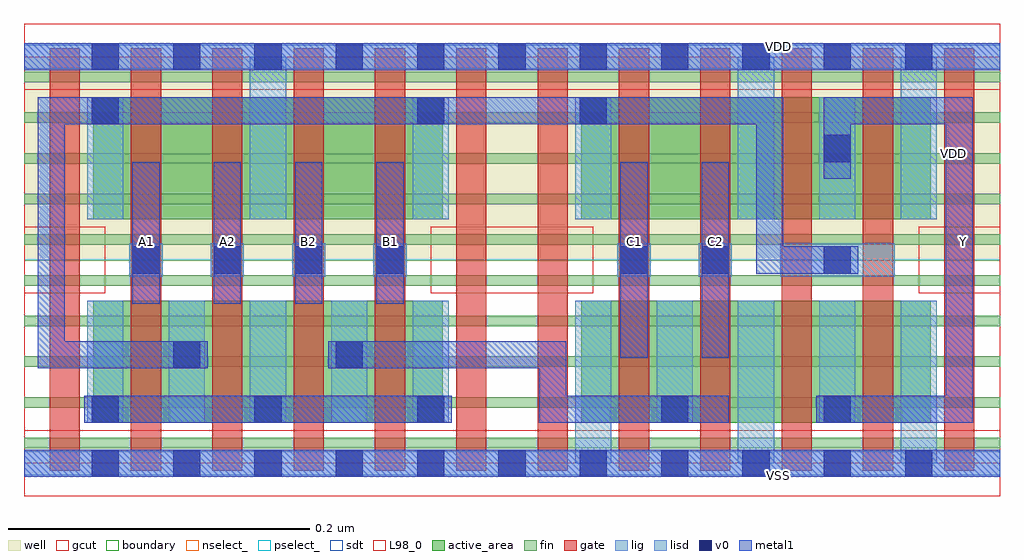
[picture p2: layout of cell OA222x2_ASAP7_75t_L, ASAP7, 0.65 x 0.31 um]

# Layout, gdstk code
import gdstk
lib = gdstk.Library(unit=1e-6, precision=2.5e-10)
def R(c, l, rs):  # rectangles x0, y0, x1, y1
    for r in rs: c.add(gdstk.rectangle(r[:2], r[2:], *l))
def A(c, l, x, y, w, h, nx, ny, dx, dy):  # array of equal rectangles
    R(c, l, [(x+i*dx, y+j*dy, x+i*dx+w, y+j*dy+h) for i in range(nx) for j in range(ny)])
def P(c, l, *ps):  # polygons
    for p in ps: c.add(gdstk.Polygon(p, *l))
well = (1, 0)
fin = (2, 0)
gate = (7, 0)
gcut = (10, 0)
active_area = (11, 0)
nselect_ = (12, 0)
pselect_ = (13, 0)
lig = (16, 0)
lisd = (17, 0)
v0 = (18, 0)
metal1 = (19, 0)
sdt = (88, 0)
L98_0 = (98, 0)
boundary = (100, 0)

oa222x2_asap7_75t_l = lib.new_cell('OA222x2_ASAP7_75t_L')
R(oa222x2_asap7_75t_l, well, [(0,0.135,0.648,0.27)])
A(oa222x2_asap7_75t_l, fin, 0, 0.01, 0.648, 0.007, 1, 10, 0, 0.027)
A(oa222x2_asap7_75t_l, gate, 0.017, -0.005, 0.02, 0.2805, 12, 1, 0.054, 0)
R(oa222x2_asap7_75t_l, gcut, [(0,-0.022,0.648,0.022), (0,0.113,0.054,0.157), (0.27,0.113,0.378,0.157), (0.594,0.113,0.648,0.157), (0,0.248,0.648,0.292)])
R(oa222x2_asap7_75t_l, active_area, [(0.046,0.027,0.278,0.108), (0.37,0.027,0.602,0.108), (0.046,0.162,0.278,0.243), (0.37,0.162,0.602,0.243)])
R(oa222x2_asap7_75t_l, nselect_, [(0,0,0.648,0.135)])
R(oa222x2_asap7_75t_l, pselect_, [(0,0.135,0.648,0.27)])
A(oa222x2_asap7_75t_l, lig, 0.07, 0.124, 0.022, 0.022, 4, 1, 0.054, 0)
R(oa222x2_asap7_75t_l, lig, [(0,-0.008,0.648,0.008), (0.394,0.124,0.416,0.146), (0.448,0.124,0.47,0.146), (0.502,0.124,0.578,0.146), (0,0.262,0.648,0.278)])
A(oa222x2_asap7_75t_l, lisd, 0.366, 0, 0.024, 0.108, 3, 1, 0.108, 0)
A(oa222x2_asap7_75t_l, lisd, 0.042, 0.027, 0.024, 0.081, 5, 1, 0.054, 0)
R(oa222x2_asap7_75t_l, lisd, [(0.42,0.027,0.444,0.108), (0.528,0.027,0.552,0.108), (0.042,0.162,0.066,0.243), (0.15,0.162,0.174,0.27), (0.258,0.162,0.282,0.243), (0.366,0.162,0.39,0.243), (0.474,0.162,0.498,0.27), (0.528,0.162,0.552,0.243), (0.582,0.162,0.606,0.27)])
A(oa222x2_asap7_75t_l, v0, 0.045, -0.009, 0.018, 0.018, 11, 2, 0.054, 0.27)
A(oa222x2_asap7_75t_l, v0, 0.045, 0.027, 0.018, 0.018, 3, 1, 0.108, 0)
A(oa222x2_asap7_75t_l, v0, 0.072, 0.126, 0.018, 0.018, 4, 1, 0.054, 0)
R(oa222x2_asap7_75t_l, v0, [(0.423,0.027,0.441,0.045), (0.531,0.027,0.549,0.045), (0.099,0.063,0.117,0.081), (0.207,0.063,0.225,0.081), (0.396,0.126,0.414,0.144), (0.45,0.126,0.468,0.144), (0.531,0.126,0.549,0.144), (0.531,0.2,0.549,0.218), (0.045,0.225,0.063,0.243), (0.261,0.225,0.279,0.243), (0.369,0.225,0.387,0.243)])
A(oa222x2_asap7_75t_l, metal1, 0.072, 0.106, 0.018, 0.094, 4, 1, 0.054, 0)
R(oa222x2_asap7_75t_l, metal1, [(0,-0.009,0.648,0.009), (0.04,0.027,0.284,0.045), (0.396,0.07,0.414,0.2), (0.45,0.07,0.468,0.2), (0,0.261,0.648,0.279)])
P(oa222x2_asap7_75t_l, metal1, [(0.468,0.045),(0.36,0.045),(0.36,0.081),(0.202,0.081),(0.202,0.063),(0.342,0.063),(0.342,0.027),(0.468,0.027)],
  [(0.554,0.144),(0.504,0.144),(0.504,0.243),(0.009,0.243),(0.009,0.063),(0.122,0.063),(0.122,0.081),(0.027,0.081),(0.027,0.225),(0.486,0.225),(0.486,0.126),(0.554,0.126)],
  [(0.63,0.243),(0.531,0.243),(0.531,0.189),(0.549,0.189),(0.549,0.225),(0.612,0.225),(0.612,0.045),(0.526,0.045),(0.526,0.027),(0.63,0.027)])
A(oa222x2_asap7_75t_l, sdt, 0.042, 0.027, 0.024, 0.081, 5, 1, 0.054, 0)
A(oa222x2_asap7_75t_l, sdt, 0.366, 0.027, 0.024, 0.081, 5, 1, 0.054, 0)
A(oa222x2_asap7_75t_l, sdt, 0.042, 0.162, 0.024, 0.081, 5, 1, 0.108, 0)
R(oa222x2_asap7_75t_l, sdt, [(0.528,0.162,0.552,0.243), (0.582,0.162,0.606,0.243)])
R(oa222x2_asap7_75t_l, L98_0, [(0,0,0.648,0.27)])
R(oa222x2_asap7_75t_l, boundary, [(0,0,0.648,0.27)])
oa222x2_asap7_75t_l.add(gdstk.Label('VDD', (0.617,0.206), layer=1, texttype=251))
oa222x2_asap7_75t_l.add(gdstk.Label('VSS', (0.686,0.205), layer=3, texttype=251))
oa222x2_asap7_75t_l.add(gdstk.Label('A1', (0.081,0.147), layer=19, texttype=251))
oa222x2_asap7_75t_l.add(gdstk.Label('A2', (0.135,0.147), layer=19, texttype=251))
oa222x2_asap7_75t_l.add(gdstk.Label('VSS', (0.501,-0.008), layer=19, texttype=251))
oa222x2_asap7_75t_l.add(gdstk.Label('B2', (0.189,0.147), layer=19, texttype=251))
oa222x2_asap7_75t_l.add(gdstk.Label('C2', (0.459,0.147), layer=19, texttype=251))
oa222x2_asap7_75t_l.add(gdstk.Label('A1', (0.081,0.147), layer=19, texttype=251))
oa222x2_asap7_75t_l.add(gdstk.Label('B1', (0.243,0.147), layer=19, texttype=251))
oa222x2_asap7_75t_l.add(gdstk.Label('C1', (0.405,0.147), layer=19, texttype=251))
oa222x2_asap7_75t_l.add(gdstk.Label('VDD', (0.501,0.277), layer=19, texttype=251))
oa222x2_asap7_75t_l.add(gdstk.Label('A2', (0.135,0.147), layer=19, texttype=251))
oa222x2_asap7_75t_l.add(gdstk.Label('B2', (0.189,0.147), layer=19, texttype=251))
oa222x2_asap7_75t_l.add(gdstk.Label('B1', (0.243,0.147), layer=19, texttype=251))
oa222x2_asap7_75t_l.add(gdstk.Label('C1', (0.405,0.147), layer=19, texttype=251))
oa222x2_asap7_75t_l.add(gdstk.Label('C2', (0.459,0.147), layer=19, texttype=251))
oa222x2_asap7_75t_l.add(gdstk.Label('Y', (0.624,0.147), layer=19, texttype=251))

lib.write_gds('OA222x2_ASAP7_75t_L.gds')
